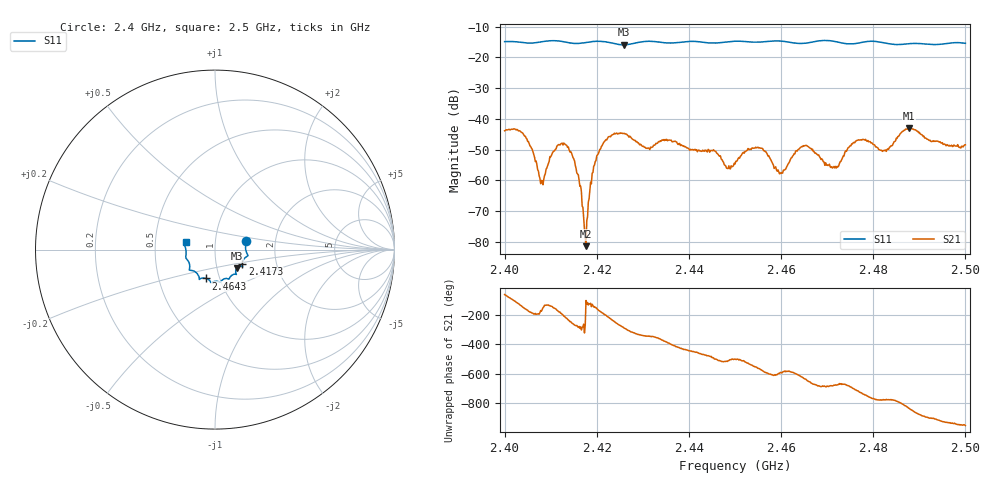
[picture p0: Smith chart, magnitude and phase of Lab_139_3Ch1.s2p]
# Hz S RI R 50
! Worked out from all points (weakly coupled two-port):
!   601 points, 2.4 GHz to 2.5 GHz, reference 50 ohm
!   highest |S21| = -42.95 dB at 2.4877 GHz (marker M1); lowest = -81.4 dB at 2.4177 GHz (marker M2)
!   lowest |S11| = -15.9 dB at 2.4258 GHz (marker M3), VSWR 1.38, Z = 62.3 - j13.3 ohm
!   |S11| at or under -10 dB: start of sweep to end of sweep
!   S12 and S22 are empty: the file has one direction only
!   S11 on the Smith chart (normalised r, x): 2.4 GHz: 1.41, +0.14; 2.4173 GHz: 1.34, -0.23; 2.4643 GHz: 0.86, -0.28; 2.5 GHz: 0.72, +0.06
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2.4e9  0.1734 0.0495  0.00328 -0.00548  0 0  0 0
2.404333e9  0.1712 0.0215  -0.00472 -0.0023  0 0  0 0
2.408e9  0.1777 -0.0206  -0.000985 -0.000124  0 0  0 0
2.411e9  0.1832 -0.0346  -0.00289 -0.00131  0 0  0 0
2.413333e9  0.1712 -0.0425  -0.0029 0.00238  0 0  0 0
2.416667e9  0.1529 -0.0743  0.00034 0.000562  0 0  0 0
2.417333e9  0.1523 -0.0817  0.000124 9.66e-05  0 0  0 0
2.417667e9  0.1523 -0.085  -1.45e-05 -8.35e-05  0 0  0 0
2.419e9  0.1534 -0.0949  -0.000762 -0.00106  0 0  0 0
2.4205e9  0.1546 -0.0972  -0.00287 -0.000544  0 0  0 0
2.425833e9  0.1218 -0.1037  0.00161 0.00555  0 0  0 0
2.433333e9  0.1132 -0.137  0.00418 0.000244  0 0  0 0
2.45e9  0.0294 -0.1809  -0.00141 -0.00118  0 0  0 0
2.4555e9  -0.00238 -0.1773  -0.00284 0.00174  0 0  0 0
2.46e9  -0.0237 -0.1824  -0.000816 0.00106  0 0  0 0
2.464333e9  -0.0498 -0.1607  -0.000573 0.00342  0 0  0 0
2.466667e9  -0.0758 -0.1597  0.00185 0.00253  0 0  0 0
2.4715e9  -0.0875 -0.1601  0.00126 0.00112  0 0  0 0
2.476667e9  -0.1232 -0.1175  0.00448 0.000199  0 0  0 0
2.483333e9  -0.1407 -0.0899  0.00171 -0.00269  0 0  0 0
2.487667e9  -0.1582 -0.0525  -0.00309 -0.00642  0 0  0 0
2.5e9  -0.1636 0.0426  -0.0022 0.00307  0 0  0 0
